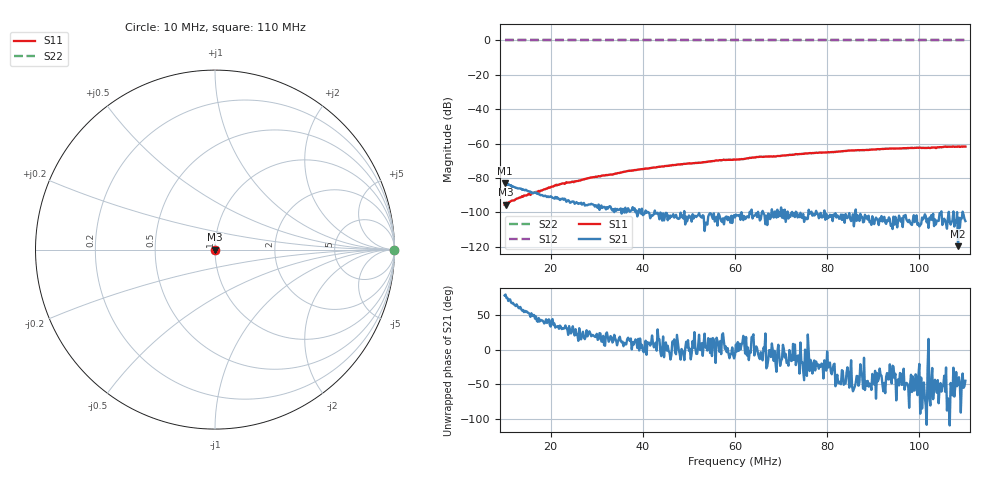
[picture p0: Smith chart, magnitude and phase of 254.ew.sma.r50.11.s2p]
! Anritsu VNA Master:  Model: MS2036C/10/77
! SN:  1601066
! /card0/usr/254.ew.sma.r50.11.s2p
! Existing Calibration Information:
! TYPE:  Current Settings,  Active Cal Settings
! TIME:  12/20/2017 12:36:39 PM,  12/20/2017 12:32:09 PM
! INTERNAL TEMP:  45.3 C,  45.8 C
! # POINTS:  501,  501
! START FREQ:  10.000 MHz,  10.000 MHz
! STOP FREQ:  110.000 MHz,  110.000 MHz
! SOURCE POWER:  High,  High
! IFBW:  100 Hz,  100 Hz
! AVG FACTOR:  1 ,  1
! REF PLANE 1:  0 mm,  0 mm
! REF PLANE 2:  0 mm,  0 mm
! CAL TYPE:  Full S11,  Full S11
! CAL METHOD:  SOLT,  SOLT
! CAL LINE TYPE:  Coax,  Coax
! DUT PORT 1:  N-Conn(F),  N-Conn(F)
! DUT PORT 2:  K-Conn(F),  K-Conn(F)
! CAL STATUS:  OK: Accuracy High,  --
# GHZ S DB R 50.0
! FREQ.GHZ  S11DB  S11A  S21DB  S21A  S12DB  S12A  S22DB  S22A
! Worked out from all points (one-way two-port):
!   501 points, 10 MHz to 110 MHz, reference 50 ohm
!   highest |S21| = -83.26 dB at 10 MHz (marker M1); lowest = -119.8 dB at 108.4 MHz (marker M2)
!   lowest |S11| = -95.5 dB at 10.2 MHz (marker M3), VSWR 1.00, Z = 50 - j0.000534 ohm
!   |S11| at or under -10 dB: start of sweep to end of sweep
!   |S22| runs from 0.0 to 0.0 dB; largest |S21 - S12| = 1
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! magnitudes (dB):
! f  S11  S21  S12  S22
! 10 MHz  -95.5  -83.3  0.0  0.0
! 10.2 MHz  -95.5  -83.5  0.0  0.0
! 26.8 MHz  -81.1  -95.6  0.0  0.0
! 28.8 MHz  -79.8  -95.1  0.0  0.0
! 33.4 MHz  -78.1  -99.0  0.0  0.0
! 36.8 MHz  -75.9  -97.6  0.0  0.0
! 43.4 MHz  -73.6  -101.4  0.0  0.0
! 49.2 MHz  -71.8  -107.1  0.0  0.0
! 52.2 MHz  -71.1  -100.4  0.0  0.0
! 56.2 MHz  -69.9  -107.8  0.0  0.0
! 60 MHz  -69.4  -103.0  0.0  0.0
! 62 MHz  -68.9  -102.2  0.0  0.0
! 65 MHz  -67.8  -99.8  0.0  0.0
! 68.4 MHz  -67.4  -103.1  0.0  0.0
! 76.8 MHz  -65.5  -102.0  0.0  0.0
! 81.4 MHz  -65.0  -101.3  0.0  0.0
! 85 MHz  -64.1  -103.9  0.0  0.0
! 93.4 MHz  -63.0  -103.0  0.0  0.0
! 102 MHz  -62.5  -109.1  0.0  0.0
! 105.8 MHz  -61.8  -106.8  0.0  0.0
! 108.4 MHz  -61.8  -119.8  0.0  0.0
! 110 MHz  -61.8  -105.1  0.0  0.0
